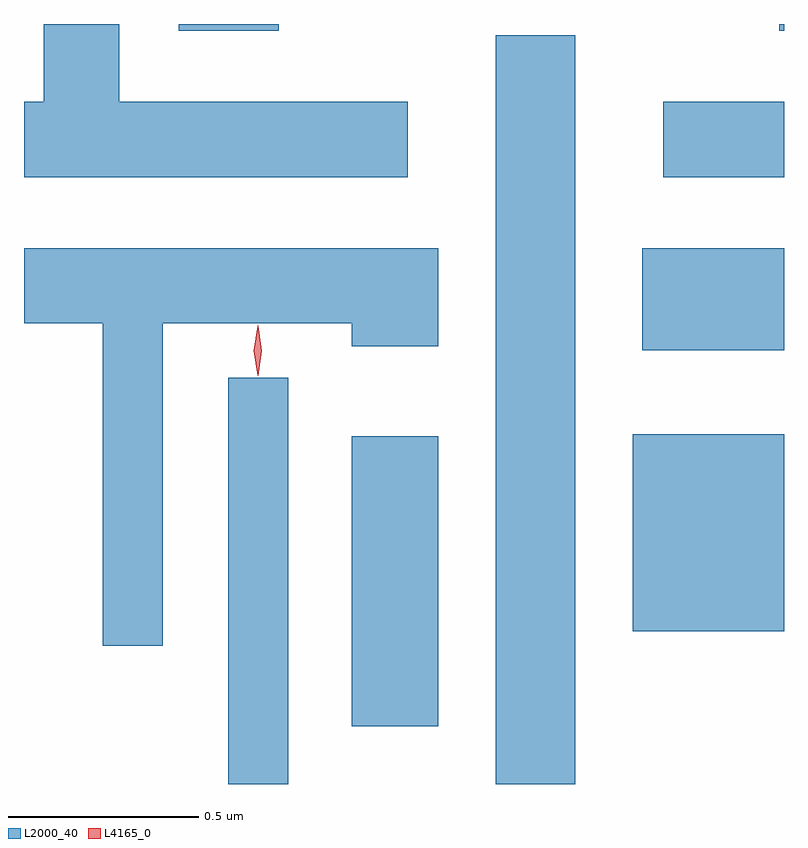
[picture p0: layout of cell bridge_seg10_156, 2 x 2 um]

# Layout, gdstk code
import gdstk
lib = gdstk.Library(unit=1e-6, precision=1e-09)
def R(c, l, rs):  # rectangles x0, y0, x1, y1
    for r in rs: c.add(gdstk.rectangle(r[:2], r[2:], *l))
def P(c, l, *ps):  # polygons
    for p in ps: c.add(gdstk.Polygon(p, *l))
L2000_40 = (2000, 40)
L4165_0 = (4165, 0)

bridge_seg10_156 = lib.new_cell('bridge_seg10_156')
R(bridge_seg10_156, L2000_40, [(1630.791,2126.324,1630.949,2127.393), (1631.496,2126.324,1631.704,2128.294), (1631.116,2126.476,1631.344,2127.239), (1631.856,2126.726,1632.254,2127.244), (1631.881,2127.466,1632.254,2127.734), (1631.936,2127.921,1632.254,2128.119), (1630.661,2128.306,1630.924,2128.324), (1632.241,2128.306,1632.254,2128.324)])
P(bridge_seg10_156, L2000_40, [(1631.264,2128.119),(1630.504,2128.119),(1630.504,2128.324),(1630.306,2128.324),(1630.306,2128.119),(1630.254,2128.119),(1630.254,2127.921),(1631.264,2127.921)],
  [(1630.619,2127.536),(1631.116,2127.536),(1631.116,2127.476),(1631.344,2127.476),(1631.344,2127.734),(1630.254,2127.734),(1630.254,2127.536),(1630.461,2127.536),(1630.461,2126.688),(1630.619,2126.688)])
P(bridge_seg10_156, L4165_0, [(1630.869,2127.398),(1630.869,2127.398),(1630.859,2127.464),(1630.869,2127.53),(1630.869,2127.531),(1630.87,2127.53),(1630.879,2127.464),(1630.87,2127.398)])

lib.write_gds('bridge_seg10_156.gds')
